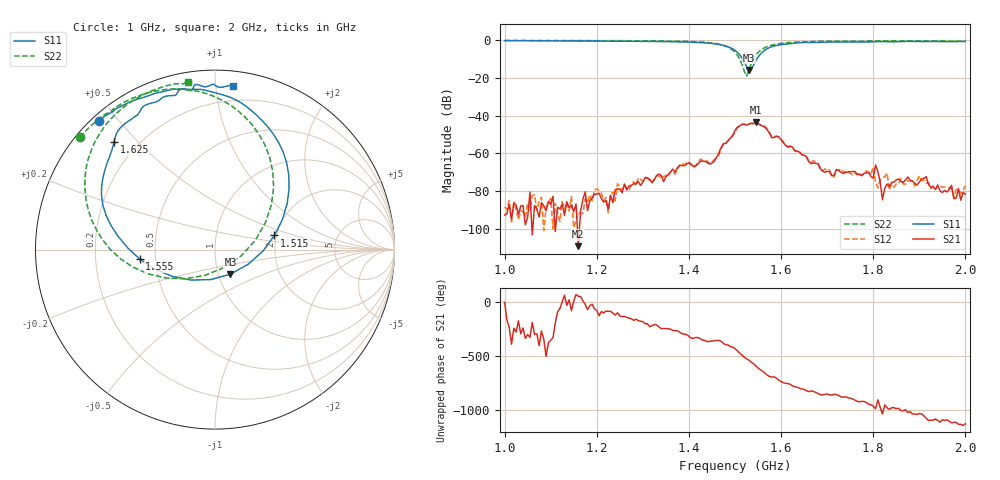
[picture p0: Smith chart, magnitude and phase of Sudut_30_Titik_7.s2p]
# Hz S RI R 50
! CMT, C1220, 16058040, 17.2.0/1
! Date: 14/08/2018 12:12:10
! Data: Format (Calibration Info)
! Freq  S11: Re/Im (F2)  S21: Re/Im (F2)  S12: Re/Im (F2)  S22: Re/Im (F2)
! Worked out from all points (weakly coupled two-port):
!   201 points, 1 GHz to 2 GHz, reference 50 ohm
!   highest |S21| = -43.33 dB at 1.545 GHz (marker M1); lowest = -109.1 dB at 1.16 GHz (marker M2)
!   lowest |S11| = -15.8 dB at 1.53 GHz (marker M3), VSWR 1.39, Z = 57 - j16 ohm
!   |S11| at or under -10 dB: 1.517 GHz to 1.548 GHz (30.96 MHz wide, 2.02 % of centre)
!   |S22| runs from -19.0 to -0.2 dB; largest |S21 - S12| = 0.00038
!   S11 on the Smith chart (normalised r, x): 1 GHz: 0.02, +0.44; 1.515 GHz: 1.95, +0.35; 1.555 GHz: 0.41, -0.05; 1.625 GHz: 0.12, +0.43; 2 GHz: 0.10, +1.11
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1e9  -0.6454 0.7147  2.35e-05 2.98e-07  3.33e-05 -1.99e-05  -0.7534 0.6251
1.16e9  -0.4878 0.8166  1.9e-06 2.95e-06  2.01e-05 1.99e-05  -0.627 0.7437
1.17e9  -0.4749 0.8222  6.04e-05 1.57e-05  2.49e-05 7.24e-06  -0.6164 0.7509
1.255e9  -0.345 0.867  -6.19e-05 -6.73e-05  -4.04e-05 -9.93e-05  -0.5289 0.8082
1.335e9  -0.215 0.8935  -0.000185 0.000217  -0.000171 0.000189  -0.4001 0.8655
1.45e9  0.1771 0.7954  0.000556 -8.61e-06  0.000596 -5.77e-05  0.0245 0.8397
1.5e9  0.413 0.3425  0.00127 -0.00386  0.00122 -0.00361  0.3268 0.3484
1.515e9  0.3314 0.0786  -0.00381 -0.00445  -0.00373 -0.00463  0.2252 0.0526
1.53e9  0.086 -0.1367  -0.00594 -0.00011  -0.00611 -0.000136  -0.0561 -0.1437
1.545e9  -0.2401 -0.1484  -0.00429 0.00529  -0.00431 0.00514  -0.3735 -0.1346
1.555e9  -0.4201 -0.0521  -0.000115 0.00562  -0.000398 0.00578  -0.5288 -0.0493
1.625e9  -0.5624 0.599  0.000708 -0.00128  0.000743 -0.0012  -0.7009 0.5211
1.67e9  -0.4419 0.7433  -0.0002 -0.000523  -0.000232 -0.000602  -0.625 0.6725
1.715e9  -0.36 0.8146  -0.000198 -0.000178  -0.000186 -0.000151  -0.5505 0.7576
1.8e9  -0.2047 0.8828  -8.55e-05 0.000205  -0.000278 0.000332  -0.4238 0.8492
1.805e9  -0.1993 0.8892  3.13e-05 0.000494  -0.000109 0.000143  -0.4166 0.8538
1.82e9  -0.1732 0.8943  4.68e-05 3.64e-05  1.6e-05 0.00022  -0.3961 0.8646
1.83e9  -0.1507 0.8886  -1.75e-05 0.000153  -0.000103 0.000286  -0.3826 0.8708
1.835e9  -0.141 0.886  2.07e-05 0.000132  -7.7e-05 7.61e-05  -0.376 0.8743
1.9e9  -0.0534 0.9068  0.000129 0.000119  0.0002 0.000158  -0.2845 0.9087
1.925e9  -0.0142 0.9211  0.00012 -3.93e-05  0.000116 -2.36e-05  -0.2502 0.9178
2e9  0.0979 0.9111  4.99e-05 -6.71e-05  6.75e-05 -0.000121  -0.1519 0.933
